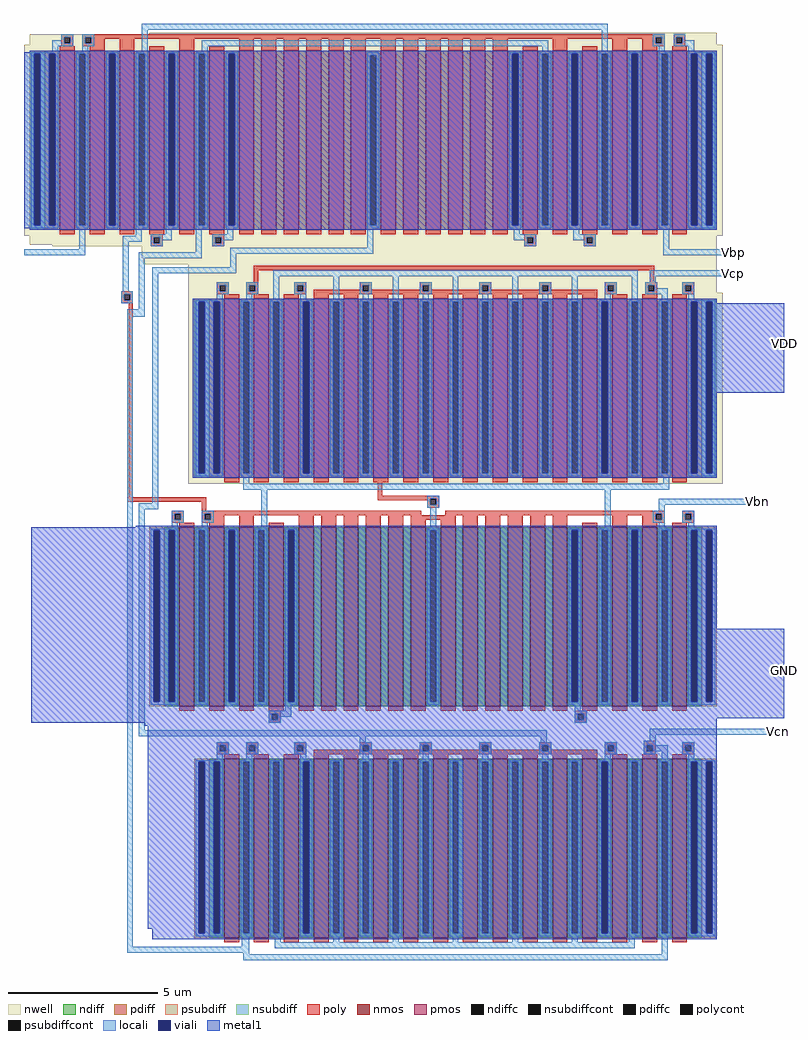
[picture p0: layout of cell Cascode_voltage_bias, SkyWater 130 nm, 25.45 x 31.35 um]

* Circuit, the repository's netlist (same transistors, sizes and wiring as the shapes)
* NGSPICE file created from Cascode_voltage_bias.ext - technology: sky130A


X0 a_2640_2790# a_2640_2790# Vcp VDD sky130_fd_pr__pfet_01v8 ad=1.5 pd=6.5 as=1.5 ps=6.5 w=6 l=0.5
X1 Vcp a_2140_2820# a_2140_2820# VDD sky130_fd_pr__pfet_01v8 ad=1.5 pd=6.5 as=1.5 ps=6.5 w=6 l=0.5
X2 Vcp a_2640_2790# VDD VDD sky130_fd_pr__pfet_01v8 ad=1.5 pd=6.5 as=1.5 ps=6.5 w=6 l=0.5
X3 a_2690_4480# Vbp a_2540_4480# VDD sky130_fd_pr__pfet_01v8 ad=0.75 pd=6.25 as=0.75 ps=6.25 w=6 l=0.5
X4 a_2840_4480# Vbp a_2690_4480# VDD sky130_fd_pr__pfet_01v8 ad=0.75 pd=6.25 as=0.75 ps=6.25 w=6 l=0.5
X5 a_3240_1290# Vbn a_3090_1290# GND sky130_fd_pr__nfet_01v8 ad=0.75 pd=6.25 as=0.75 ps=6.25 w=6 l=0.5
X6 VDD Vbp Vcn VDD sky130_fd_pr__pfet_01v8 ad=1.5 pd=6.5 as=1.5 ps=6.5 w=6 l=0.5
X7 a_3890_1290# Vbn a_3740_1290# GND sky130_fd_pr__nfet_01v8 ad=0.75 pd=6.25 as=0.75 ps=6.25 w=6 l=0.5
X8 a_4040_1290# Vbn a_3890_1290# GND sky130_fd_pr__nfet_01v8 ad=0.75 pd=6.25 as=0.75 ps=6.25 w=6 l=0.5
X9 GND GND Vbn GND sky130_fd_pr__nfet_01v8 ad=3 pd=13 as=1.5 ps=6.5 w=6 l=0.5
X10 Vbp VDD VDD VDD sky130_fd_pr__pfet_01v8 ad=1.5 pd=6.5 as=3 ps=13 w=6 l=0.5
X11 Vbn Vbp VDD VDD sky130_fd_pr__pfet_01v8 ad=1.5 pd=6.5 as=1.5 ps=6.5 w=6 l=0.5
X12 VDD Vbp Vbn VDD sky130_fd_pr__pfet_01v8 ad=1.5 pd=6.5 as=1.5 ps=6.5 w=6 l=0.5
X13 a_2140_2820# Vbn GND GND sky130_fd_pr__nfet_01v8 ad=1.5 pd=6.5 as=1.5 ps=6.5 w=6 l=0.5
X14 a_2340_n260# a_2640_n290# a_2640_n290# GND sky130_fd_pr__nfet_01v8 ad=1.5 pd=6.5 as=1.5 ps=6.5 w=6 l=0.5
X15 Vcn Vbp VDD VDD sky130_fd_pr__pfet_01v8 ad=1.5 pd=6.5 as=1.5 ps=6.5 w=6 l=0.5
X16 a_2640_1290# Vbn GND GND sky130_fd_pr__nfet_01v8 ad=0.75 pd=6.25 as=1.5 ps=6.5 w=6 l=0.5
X17 a_2340_n260# GND GND GND sky130_fd_pr__nfet_01v8 ad=1.5 pd=6.5 as=1.5 ps=6.5 w=6 l=0.5
X18 a_3190_4480# Vbp a_2640_n290# VDD sky130_fd_pr__pfet_01v8 ad=0.75 pd=6.25 as=1.5 ps=6.5 w=6 l=0.5
X19 a_3340_4480# Vbp a_3190_4480# VDD sky130_fd_pr__pfet_01v8 ad=0.75 pd=6.25 as=0.75 ps=6.25 w=6 l=0.5
X20 VDD VDD a_2140_2820# VDD sky130_fd_pr__pfet_01v8 ad=3 pd=13 as=1.5 ps=6.5 w=6 l=0.5
X21 a_2140_2820# GND GND GND sky130_fd_pr__nfet_01v8 ad=1.5 pd=6.5 as=1.5 ps=6.5 w=6 l=0.5
X22 a_2640_n290# a_2640_n290# a_2340_n260# GND sky130_fd_pr__nfet_01v8 ad=1.5 pd=6.5 as=1.5 ps=6.5 w=6 l=0.5
X23 Vbn Vbn GND GND sky130_fd_pr__nfet_01v8 ad=1.5 pd=6.5 as=1.5 ps=6.5 w=6 l=0.5
X24 a_2640_n290# a_2640_n290# a_2340_n260# GND sky130_fd_pr__nfet_01v8 ad=1.5 pd=6.5 as=1.5 ps=6.5 w=6 l=0.5
X25 a_2640_2790# a_2640_2790# Vcp VDD sky130_fd_pr__pfet_01v8 ad=1.5 pd=6.5 as=1.5 ps=6.5 w=6 l=0.5
X26 VDD a_2640_2790# Vcp VDD sky130_fd_pr__pfet_01v8 ad=1.5 pd=6.5 as=1.5 ps=6.5 w=6 l=0.5
X27 GND Vbn Vbn GND sky130_fd_pr__nfet_01v8 ad=1.5 pd=6.5 as=1.5 ps=6.5 w=6 l=0.5
X28 a_2140_2820# a_2140_2820# Vcp VDD sky130_fd_pr__pfet_01v8 ad=1.5 pd=6.5 as=1.5 ps=6.5 w=6 l=0.5
X29 a_2640_2790# Vbn a_3240_1290# GND sky130_fd_pr__nfet_01v8 ad=1.5 pd=6.5 as=0.75 ps=6.25 w=6 l=0.5
X30 a_2340_n260# Vcn Vcn GND sky130_fd_pr__nfet_01v8 ad=1.5 pd=6.5 as=1.5 ps=6.5 w=6 l=0.5
X31 a_2640_n290# Vbp a_2840_4480# VDD sky130_fd_pr__pfet_01v8 ad=1.5 pd=6.5 as=0.75 ps=6.25 w=6 l=0.5
X32 Vcp a_2640_2790# a_2640_2790# VDD sky130_fd_pr__pfet_01v8 ad=1.5 pd=6.5 as=1.5 ps=6.5 w=6 l=0.5
X33 a_2340_n260# a_2640_n290# GND GND sky130_fd_pr__nfet_01v8 ad=1.5 pd=6.5 as=1.5 ps=6.5 w=6 l=0.5
X34 Vcp a_2640_2790# a_2640_2790# VDD sky130_fd_pr__pfet_01v8 ad=1.5 pd=6.5 as=1.5 ps=6.5 w=6 l=0.5
X35 Vcp a_2640_2790# a_2640_2790# VDD sky130_fd_pr__pfet_01v8 ad=1.5 pd=6.5 as=1.5 ps=6.5 w=6 l=0.5
X36 a_2140_2820# VDD VDD VDD sky130_fd_pr__pfet_01v8 ad=1.5 pd=6.5 as=3 ps=13 w=6 l=0.5
X37 a_2790_1290# Vbn a_2640_1290# GND sky130_fd_pr__nfet_01v8 ad=0.75 pd=6.25 as=0.75 ps=6.25 w=6 l=0.5
X38 a_2940_1290# Vbn a_2790_1290# GND sky130_fd_pr__nfet_01v8 ad=0.75 pd=6.25 as=0.75 ps=6.25 w=6 l=0.5
X39 a_3490_4480# Vbp a_3340_4480# VDD sky130_fd_pr__pfet_01v8 ad=0.75 pd=6.25 as=0.75 ps=6.25 w=6 l=0.5
X40 a_3640_4480# Vbp a_3490_4480# VDD sky130_fd_pr__pfet_01v8 ad=0.75 pd=6.25 as=0.75 ps=6.25 w=6 l=0.5
X41 VDD VDD Vcp VDD sky130_fd_pr__pfet_01v8 ad=1.5 pd=6.5 as=1.5 ps=6.5 w=6 l=0.5
X42 VDD VDD Vbp VDD sky130_fd_pr__pfet_01v8 ad=3 pd=13 as=1.5 ps=6.5 w=6 l=0.5
X43 a_2640_2790# a_2640_2790# Vcp VDD sky130_fd_pr__pfet_01v8 ad=1.5 pd=6.5 as=1.5 ps=6.5 w=6 l=0.5
X44 a_2240_4480# Vbp VDD VDD sky130_fd_pr__pfet_01v8 ad=0.75 pd=6.25 as=1.5 ps=6.5 w=6 l=0.5
X45 GND GND Vcn GND sky130_fd_pr__nfet_01v8 ad=3 pd=13 as=1.5 ps=6.5 w=6 l=0.5
X46 Vcn VDD VDD VDD sky130_fd_pr__pfet_01v8 ad=1.5 pd=6.5 as=1.5 ps=6.5 w=6 l=0.5
X47 VDD Vbp Vbp VDD sky130_fd_pr__pfet_01v8 ad=1.5 pd=6.5 as=1.5 ps=6.5 w=6 l=0.5
X48 Vbn VDD VDD VDD sky130_fd_pr__pfet_01v8 ad=1.5 pd=6.5 as=1.5 ps=6.5 w=6 l=0.5
X49 a_2640_n290# a_2640_n290# a_2340_n260# GND sky130_fd_pr__nfet_01v8 ad=1.5 pd=6.5 as=1.5 ps=6.5 w=6 l=0.5
X50 VDD VDD Vbn VDD sky130_fd_pr__pfet_01v8 ad=1.5 pd=6.5 as=1.5 ps=6.5 w=6 l=0.5
X51 Vbp Vbp VDD VDD sky130_fd_pr__pfet_01v8 ad=1.5 pd=6.5 as=1.5 ps=6.5 w=6 l=0.5
X52 GND GND a_2140_2820# GND sky130_fd_pr__nfet_01v8 ad=1.5 pd=6.5 as=1.5 ps=6.5 w=6 l=0.5
X53 GND a_2640_n290# a_2340_n260# GND sky130_fd_pr__nfet_01v8 ad=1.5 pd=6.5 as=1.5 ps=6.5 w=6 l=0.5
X54 VDD VDD Vcn VDD sky130_fd_pr__pfet_01v8 ad=1.5 pd=6.5 as=1.5 ps=6.5 w=6 l=0.5
X55 a_3090_1290# Vbn a_2940_1290# GND sky130_fd_pr__nfet_01v8 ad=0.75 pd=6.25 as=0.75 ps=6.25 w=6 l=0.5
X56 Vcn Vcn a_2340_n260# GND sky130_fd_pr__nfet_01v8 ad=1.5 pd=6.5 as=1.5 ps=6.5 w=6 l=0.5
X57 a_3790_4480# Vbp a_3640_4480# VDD sky130_fd_pr__pfet_01v8 ad=0.75 pd=6.25 as=0.75 ps=6.25 w=6 l=0.5
X58 a_4190_1290# Vbn a_4040_1290# GND sky130_fd_pr__nfet_01v8 ad=0.75 pd=6.25 as=0.75 ps=6.25 w=6 l=0.5
X59 GND Vbn a_4190_1290# GND sky130_fd_pr__nfet_01v8 ad=1.5 pd=6.5 as=0.75 ps=6.25 w=6 l=0.5
X60 a_2340_n260# a_2640_n290# a_2640_n290# GND sky130_fd_pr__nfet_01v8 ad=1.5 pd=6.5 as=1.5 ps=6.5 w=6 l=0.5
X61 VDD Vbp a_3790_4480# VDD sky130_fd_pr__pfet_01v8 ad=1.5 pd=6.5 as=0.75 ps=6.25 w=6 l=0.5
X62 GND Vbn a_2140_2820# GND sky130_fd_pr__nfet_01v8 ad=1.5 pd=6.5 as=1.5 ps=6.5 w=6 l=0.5
X63 a_2340_n260# a_2640_n290# a_2640_n290# GND sky130_fd_pr__nfet_01v8 ad=1.5 pd=6.5 as=1.5 ps=6.5 w=6 l=0.5
X64 a_2390_4480# Vbp a_2240_4480# VDD sky130_fd_pr__pfet_01v8 ad=0.75 pd=6.25 as=0.75 ps=6.25 w=6 l=0.5
X65 Vcp a_2640_2790# a_2640_2790# VDD sky130_fd_pr__pfet_01v8 ad=1.5 pd=6.5 as=1.5 ps=6.5 w=6 l=0.5
X66 Vbn GND GND GND sky130_fd_pr__nfet_01v8 ad=1.5 pd=6.5 as=3 ps=13 w=6 l=0.5
X67 a_2340_n260# a_2640_n290# a_2640_n290# GND sky130_fd_pr__nfet_01v8 ad=1.5 pd=6.5 as=1.5 ps=6.5 w=6 l=0.5
X68 a_2540_4480# Vbp a_2390_4480# VDD sky130_fd_pr__pfet_01v8 ad=0.75 pd=6.25 as=0.75 ps=6.25 w=6 l=0.5
X69 Vcp VDD VDD VDD sky130_fd_pr__pfet_01v8 ad=1.5 pd=6.5 as=1.5 ps=6.5 w=6 l=0.5
X70 a_3590_1290# Vbn a_2640_2790# GND sky130_fd_pr__nfet_01v8 ad=0.75 pd=6.25 as=1.5 ps=6.5 w=6 l=0.5
X71 Vcn GND GND GND sky130_fd_pr__nfet_01v8 ad=1.5 pd=6.5 as=3 ps=13 w=6 l=0.5
X72 a_3740_1290# Vbn a_3590_1290# GND sky130_fd_pr__nfet_01v8 ad=0.75 pd=6.25 as=0.75 ps=6.25 w=6 l=0.5
X73 GND GND a_2340_n260# GND sky130_fd_pr__nfet_01v8 ad=1.5 pd=6.5 as=1.5 ps=6.5 w=6 l=0.5
X74 a_2640_2790# a_2640_2790# Vcp VDD sky130_fd_pr__pfet_01v8 ad=1.5 pd=6.5 as=1.5 ps=6.5 w=6 l=0.5
X75 a_2640_n290# a_2640_n290# a_2340_n260# GND sky130_fd_pr__nfet_01v8 ad=1.5 pd=6.5 as=1.5 ps=6.5 w=6 l=0.5
.ends

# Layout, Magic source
magic
tech sky130A
<< nwell >>
rect 770 2895 2670 2900
rect 370 2860 2670 2895
rect 350 2220 2690 2860
rect 370 2190 2670 2220
rect 445 2185 2670 2190
rect 745 2145 2670 2185
rect 750 2125 2670 2145
rect 900 2030 2670 2125
rect 900 1390 2690 2030
<< nmos >>
rect 870 645 920 1245
rect 970 645 1020 1245
rect 1070 645 1120 1245
rect 1170 645 1220 1245
rect 1270 645 1320 1245
rect 1345 645 1395 1245
rect 1420 645 1470 1245
rect 1495 645 1545 1245
rect 1570 645 1620 1245
rect 1645 645 1695 1245
rect 1745 645 1795 1245
rect 1820 645 1870 1245
rect 1895 645 1945 1245
rect 1970 645 2020 1245
rect 2045 645 2095 1245
rect 2120 645 2170 1245
rect 2220 645 2270 1245
rect 2320 645 2370 1245
rect 2420 645 2470 1245
rect 2520 645 2570 1245
rect 1020 -130 1070 470
rect 1120 -130 1170 470
rect 1220 -130 1270 470
rect 1320 -130 1370 470
rect 1420 -130 1470 470
rect 1520 -130 1570 470
rect 1620 -130 1670 470
rect 1720 -130 1770 470
rect 1820 -130 1870 470
rect 1920 -130 1970 470
rect 2020 -130 2070 470
rect 2120 -130 2170 470
rect 2220 -130 2270 470
rect 2320 -130 2370 470
rect 2420 -130 2470 470
rect 2520 -130 2570 470
<< pmos >>
rect 470 2240 520 2840
rect 570 2240 620 2840
rect 670 2240 720 2840
rect 770 2240 820 2840
rect 870 2240 920 2840
rect 970 2240 1020 2840
rect 1070 2240 1120 2840
rect 1145 2240 1195 2840
rect 1220 2240 1270 2840
rect 1295 2240 1345 2840
rect 1370 2240 1420 2840
rect 1445 2240 1495 2840
rect 1545 2240 1595 2840
rect 1620 2240 1670 2840
rect 1695 2240 1745 2840
rect 1770 2240 1820 2840
rect 1845 2240 1895 2840
rect 1920 2240 1970 2840
rect 2020 2240 2070 2840
rect 2120 2240 2170 2840
rect 2220 2240 2270 2840
rect 2320 2240 2370 2840
rect 2420 2240 2470 2840
rect 2520 2240 2570 2840
rect 1020 1410 1070 2010
rect 1120 1410 1170 2010
rect 1220 1410 1270 2010
rect 1320 1410 1370 2010
rect 1420 1410 1470 2010
rect 1520 1410 1570 2010
rect 1620 1410 1670 2010
rect 1720 1410 1770 2010
rect 1820 1410 1870 2010
rect 1920 1410 1970 2010
rect 2020 1410 2070 2010
rect 2120 1410 2170 2010
rect 2220 1410 2270 2010
rect 2320 1410 2370 2010
rect 2420 1410 2470 2010
rect 2520 1410 2570 2010
<< ndiff >>
rect 820 1235 870 1245
rect 820 660 835 1235
rect 855 660 870 1235
rect 820 645 870 660
rect 920 1235 970 1245
rect 920 660 935 1235
rect 955 660 970 1235
rect 920 645 970 660
rect 1020 1235 1070 1245
rect 1020 660 1035 1235
rect 1055 660 1070 1235
rect 1020 645 1070 660
rect 1120 1235 1170 1245
rect 1120 660 1135 1235
rect 1155 660 1170 1235
rect 1120 645 1170 660
rect 1220 1235 1270 1245
rect 1220 660 1235 1235
rect 1255 660 1270 1235
rect 1220 645 1270 660
rect 1320 645 1345 1245
rect 1395 645 1420 1245
rect 1470 645 1495 1245
rect 1545 645 1570 1245
rect 1620 645 1645 1245
rect 1695 1235 1745 1245
rect 1695 660 1710 1235
rect 1730 660 1745 1235
rect 1695 645 1745 660
rect 1795 645 1820 1245
rect 1870 645 1895 1245
rect 1945 645 1970 1245
rect 2020 645 2045 1245
rect 2095 645 2120 1245
rect 2170 1235 2220 1245
rect 2170 660 2185 1235
rect 2205 660 2220 1235
rect 2170 645 2220 660
rect 2270 1235 2320 1245
rect 2270 660 2285 1235
rect 2305 660 2320 1235
rect 2270 645 2320 660
rect 2370 1235 2420 1245
rect 2370 660 2385 1235
rect 2405 660 2420 1235
rect 2370 645 2420 660
rect 2470 1235 2520 1245
rect 2470 660 2485 1235
rect 2505 660 2520 1235
rect 2470 645 2520 660
rect 2570 1235 2620 1245
rect 2570 660 2585 1235
rect 2605 660 2620 1235
rect 2570 645 2620 660
rect 970 460 1020 470
rect 970 -115 985 460
rect 1005 -115 1020 460
rect 970 -130 1020 -115
rect 1070 460 1120 470
rect 1070 -115 1085 460
rect 1105 -115 1120 460
rect 1070 -130 1120 -115
rect 1170 460 1220 470
rect 1170 -115 1185 460
rect 1205 -115 1220 460
rect 1170 -130 1220 -115
rect 1270 460 1320 470
rect 1270 -115 1285 460
rect 1305 -115 1320 460
rect 1270 -130 1320 -115
rect 1370 460 1420 470
rect 1370 -115 1385 460
rect 1405 -115 1420 460
rect 1370 -130 1420 -115
rect 1470 460 1520 470
rect 1470 -115 1485 460
rect 1505 -115 1520 460
rect 1470 -130 1520 -115
rect 1570 460 1620 470
rect 1570 -115 1585 460
rect 1605 -115 1620 460
rect 1570 -130 1620 -115
rect 1670 460 1720 470
rect 1670 -115 1685 460
rect 1705 -115 1720 460
rect 1670 -130 1720 -115
rect 1770 460 1820 470
rect 1770 -115 1785 460
rect 1805 -115 1820 460
rect 1770 -130 1820 -115
rect 1870 460 1920 470
rect 1870 -115 1885 460
rect 1905 -115 1920 460
rect 1870 -130 1920 -115
rect 1970 460 2020 470
rect 1970 -115 1985 460
rect 2005 -115 2020 460
rect 1970 -130 2020 -115
rect 2070 460 2120 470
rect 2070 -115 2085 460
rect 2105 -115 2120 460
rect 2070 -130 2120 -115
rect 2170 460 2220 470
rect 2170 -115 2185 460
rect 2205 -115 2220 460
rect 2170 -130 2220 -115
rect 2270 460 2320 470
rect 2270 -115 2285 460
rect 2305 -115 2320 460
rect 2270 -130 2320 -115
rect 2370 460 2420 470
rect 2370 -115 2385 460
rect 2405 -115 2420 460
rect 2370 -130 2420 -115
rect 2470 460 2520 470
rect 2470 -115 2485 460
rect 2505 -115 2520 460
rect 2470 -130 2520 -115
rect 2570 460 2620 470
rect 2570 -115 2585 460
rect 2605 -115 2620 460
rect 2570 -130 2620 -115
<< pdiff >>
rect 420 2830 470 2840
rect 420 2255 435 2830
rect 455 2255 470 2830
rect 420 2240 470 2255
rect 520 2830 570 2840
rect 520 2255 535 2830
rect 555 2255 570 2830
rect 520 2240 570 2255
rect 620 2830 670 2840
rect 620 2255 635 2830
rect 655 2255 670 2830
rect 620 2240 670 2255
rect 720 2830 770 2840
rect 720 2255 735 2830
rect 755 2255 770 2830
rect 720 2240 770 2255
rect 820 2830 870 2840
rect 820 2255 835 2830
rect 855 2255 870 2830
rect 820 2240 870 2255
rect 920 2830 970 2840
rect 920 2255 935 2830
rect 955 2255 970 2830
rect 920 2240 970 2255
rect 1020 2830 1070 2840
rect 1020 2255 1035 2830
rect 1055 2255 1070 2830
rect 1020 2240 1070 2255
rect 1120 2240 1145 2840
rect 1195 2240 1220 2840
rect 1270 2240 1295 2840
rect 1345 2240 1370 2840
rect 1420 2240 1445 2840
rect 1495 2825 1545 2840
rect 1495 2255 1510 2825
rect 1530 2255 1545 2825
rect 1495 2240 1545 2255
rect 1595 2240 1620 2840
rect 1670 2240 1695 2840
rect 1745 2240 1770 2840
rect 1820 2240 1845 2840
rect 1895 2240 1920 2840
rect 1970 2830 2020 2840
rect 1970 2255 1985 2830
rect 2005 2255 2020 2830
rect 1970 2240 2020 2255
rect 2070 2830 2120 2840
rect 2070 2255 2085 2830
rect 2105 2255 2120 2830
rect 2070 2240 2120 2255
rect 2170 2830 2220 2840
rect 2170 2255 2185 2830
rect 2205 2255 2220 2830
rect 2170 2240 2220 2255
rect 2270 2830 2320 2840
rect 2270 2255 2285 2830
rect 2305 2255 2320 2830
rect 2270 2240 2320 2255
rect 2370 2830 2420 2840
rect 2370 2255 2385 2830
rect 2405 2255 2420 2830
rect 2370 2240 2420 2255
rect 2470 2830 2520 2840
rect 2470 2255 2485 2830
rect 2505 2255 2520 2830
rect 2470 2240 2520 2255
rect 2570 2830 2620 2840
rect 2570 2255 2585 2830
rect 2605 2255 2620 2830
rect 2570 2240 2620 2255
rect 970 2000 1020 2010
rect 970 1425 985 2000
rect 1005 1425 1020 2000
rect 970 1410 1020 1425
rect 1070 2000 1120 2010
rect 1070 1425 1085 2000
rect 1105 1425 1120 2000
rect 1070 1410 1120 1425
rect 1170 2000 1220 2010
rect 1170 1425 1185 2000
rect 1205 1425 1220 2000
rect 1170 1410 1220 1425
rect 1270 2000 1320 2010
rect 1270 1425 1285 2000
rect 1305 1425 1320 2000
rect 1270 1410 1320 1425
rect 1370 2000 1420 2010
rect 1370 1425 1385 2000
rect 1405 1425 1420 2000
rect 1370 1410 1420 1425
rect 1470 2000 1520 2010
rect 1470 1425 1485 2000
rect 1505 1425 1520 2000
rect 1470 1410 1520 1425
rect 1570 2000 1620 2010
rect 1570 1425 1585 2000
rect 1605 1425 1620 2000
rect 1570 1410 1620 1425
rect 1670 2000 1720 2010
rect 1670 1425 1685 2000
rect 1705 1425 1720 2000
rect 1670 1410 1720 1425
rect 1770 2000 1820 2010
rect 1770 1425 1785 2000
rect 1805 1425 1820 2000
rect 1770 1410 1820 1425
rect 1870 2000 1920 2010
rect 1870 1425 1885 2000
rect 1905 1425 1920 2000
rect 1870 1410 1920 1425
rect 1970 2000 2020 2010
rect 1970 1425 1985 2000
rect 2005 1425 2020 2000
rect 1970 1410 2020 1425
rect 2070 2000 2120 2010
rect 2070 1425 2085 2000
rect 2105 1425 2120 2000
rect 2070 1410 2120 1425
rect 2170 2000 2220 2010
rect 2170 1425 2185 2000
rect 2205 1425 2220 2000
rect 2170 1410 2220 1425
rect 2270 2000 2320 2010
rect 2270 1425 2285 2000
rect 2305 1425 2320 2000
rect 2270 1410 2320 1425
rect 2370 2000 2420 2010
rect 2370 1425 2385 2000
rect 2405 1425 2420 2000
rect 2370 1410 2420 1425
rect 2470 2000 2520 2010
rect 2470 1425 2485 2000
rect 2505 1425 2520 2000
rect 2470 1410 2520 1425
rect 2570 2000 2620 2010
rect 2570 1425 2585 2000
rect 2605 1425 2620 2000
rect 2570 1410 2620 1425
<< ndiffc >>
rect 835 660 855 1235
rect 935 660 955 1235
rect 1035 660 1055 1235
rect 1135 660 1155 1235
rect 1235 660 1255 1235
rect 1710 660 1730 1235
rect 2185 660 2205 1235
rect 2285 660 2305 1235
rect 2385 660 2405 1235
rect 2485 660 2505 1235
rect 2585 660 2605 1235
rect 985 -115 1005 460
rect 1085 -115 1105 460
rect 1185 -115 1205 460
rect 1285 -115 1305 460
rect 1385 -115 1405 460
rect 1485 -115 1505 460
rect 1585 -115 1605 460
rect 1685 -115 1705 460
rect 1785 -115 1805 460
rect 1885 -115 1905 460
rect 1985 -115 2005 460
rect 2085 -115 2105 460
rect 2185 -115 2205 460
rect 2285 -115 2305 460
rect 2385 -115 2405 460
rect 2485 -115 2505 460
rect 2585 -115 2605 460
<< pdiffc >>
rect 435 2255 455 2830
rect 535 2255 555 2830
rect 635 2255 655 2830
rect 735 2255 755 2830
rect 835 2255 855 2830
rect 935 2255 955 2830
rect 1035 2255 1055 2830
rect 1510 2255 1530 2825
rect 1985 2255 2005 2830
rect 2085 2255 2105 2830
rect 2185 2255 2205 2830
rect 2285 2255 2305 2830
rect 2385 2255 2405 2830
rect 2485 2255 2505 2830
rect 2585 2255 2605 2830
rect 985 1425 1005 2000
rect 1085 1425 1105 2000
rect 1185 1425 1205 2000
rect 1285 1425 1305 2000
rect 1385 1425 1405 2000
rect 1485 1425 1505 2000
rect 1585 1425 1605 2000
rect 1685 1425 1705 2000
rect 1785 1425 1805 2000
rect 1885 1425 1905 2000
rect 1985 1425 2005 2000
rect 2085 1425 2105 2000
rect 2185 1425 2205 2000
rect 2285 1425 2305 2000
rect 2385 1425 2405 2000
rect 2485 1425 2505 2000
rect 2585 1425 2605 2000
<< psubdiff >>
rect 770 1235 820 1245
rect 770 660 785 1235
rect 805 660 820 1235
rect 770 645 820 660
rect 2620 1235 2670 1245
rect 2620 660 2635 1235
rect 2655 660 2670 1235
rect 2620 645 2670 660
rect 920 460 970 470
rect 920 -115 935 460
rect 955 -115 970 460
rect 920 -130 970 -115
rect 2620 460 2670 470
rect 2620 -115 2635 460
rect 2655 -115 2670 460
rect 2620 -130 2670 -115
<< nsubdiff >>
rect 370 2830 420 2840
rect 370 2255 385 2830
rect 405 2255 420 2830
rect 370 2240 420 2255
rect 2620 2830 2670 2840
rect 2620 2255 2635 2830
rect 2655 2255 2670 2830
rect 2620 2240 2670 2255
rect 920 2000 970 2010
rect 920 1425 935 2000
rect 955 1425 970 2000
rect 920 1410 970 1425
rect 2620 2000 2670 2010
rect 2620 1425 2635 2000
rect 2655 1425 2670 2000
rect 2620 1410 2670 1425
<< psubdiffcont >>
rect 785 660 805 1235
rect 2635 660 2655 1235
rect 935 -115 955 460
rect 2635 -115 2655 460
<< nsubdiffcont >>
rect 385 2255 405 2830
rect 2635 2255 2655 2830
rect 935 1425 955 2000
rect 2635 1425 2655 2000
<< poly >>
rect 475 2885 515 2895
rect 475 2865 485 2885
rect 505 2865 515 2885
rect 475 2855 515 2865
rect 545 2885 2495 2895
rect 545 2865 555 2885
rect 575 2880 2465 2885
rect 575 2865 620 2880
rect 545 2855 620 2865
rect 470 2840 520 2855
rect 570 2840 620 2855
rect 670 2840 720 2880
rect 770 2840 820 2855
rect 870 2840 920 2880
rect 970 2840 1020 2855
rect 1070 2840 1120 2880
rect 1145 2840 1195 2880
rect 1220 2840 1270 2880
rect 1295 2840 1345 2880
rect 1370 2840 1420 2880
rect 1445 2840 1495 2880
rect 1545 2840 1595 2880
rect 1620 2840 1670 2880
rect 1695 2840 1745 2880
rect 1770 2840 1820 2880
rect 1845 2840 1895 2880
rect 1920 2840 1970 2880
rect 2020 2840 2070 2855
rect 2120 2840 2170 2880
rect 2220 2840 2270 2855
rect 2320 2840 2370 2880
rect 2420 2865 2465 2880
rect 2485 2865 2495 2885
rect 2420 2855 2495 2865
rect 2525 2885 2565 2895
rect 2525 2865 2535 2885
rect 2555 2865 2565 2885
rect 2525 2855 2565 2865
rect 2420 2840 2470 2855
rect 2520 2840 2570 2855
rect 470 2225 520 2240
rect 570 2225 620 2240
rect 670 2225 720 2240
rect 770 2225 820 2240
rect 870 2225 920 2240
rect 970 2225 1020 2240
rect 1070 2225 1120 2240
rect 1145 2225 1195 2240
rect 1220 2225 1270 2240
rect 1295 2225 1345 2240
rect 1370 2225 1420 2240
rect 1445 2225 1495 2240
rect 1545 2225 1595 2240
rect 1620 2225 1670 2240
rect 1695 2225 1745 2240
rect 1770 2225 1820 2240
rect 1845 2225 1895 2240
rect 1920 2225 1970 2240
rect 2020 2225 2070 2240
rect 2120 2225 2170 2240
rect 2220 2225 2270 2240
rect 2320 2225 2370 2240
rect 2420 2225 2470 2240
rect 2520 2225 2570 2240
rect 775 2215 815 2225
rect 775 2195 785 2215
rect 805 2195 815 2215
rect 775 2185 815 2195
rect 980 2215 1020 2225
rect 980 2195 990 2215
rect 1010 2195 1020 2215
rect 980 2185 1020 2195
rect 2025 2215 2065 2225
rect 2025 2195 2035 2215
rect 2055 2195 2065 2215
rect 2025 2185 2065 2195
rect 2225 2215 2265 2225
rect 2225 2195 2235 2215
rect 2255 2195 2265 2215
rect 2225 2185 2265 2195
rect 1120 2105 2460 2120
rect 1120 2065 1135 2105
rect 2445 2065 2460 2105
rect 995 2055 1035 2065
rect 995 2035 1005 2055
rect 1025 2035 1035 2055
rect 675 2025 715 2035
rect 995 2025 1035 2035
rect 1095 2055 1135 2065
rect 1095 2035 1105 2055
rect 1125 2035 1135 2055
rect 1095 2025 1135 2035
rect 1255 2055 1295 2065
rect 1255 2035 1265 2055
rect 1285 2035 1295 2055
rect 1475 2055 1515 2065
rect 1475 2040 1485 2055
rect 1255 2025 1295 2035
rect 1320 2035 1485 2040
rect 1505 2040 1515 2055
rect 1675 2055 1715 2065
rect 1675 2040 1685 2055
rect 1505 2035 1685 2040
rect 1705 2040 1715 2055
rect 1875 2055 1915 2065
rect 1875 2040 1885 2055
rect 1705 2035 1885 2040
rect 1905 2040 1915 2055
rect 2075 2055 2115 2065
rect 2075 2040 2085 2055
rect 1905 2035 2085 2040
rect 2105 2040 2115 2055
rect 2295 2055 2335 2065
rect 2105 2035 2270 2040
rect 1320 2025 2270 2035
rect 2295 2035 2305 2055
rect 2325 2035 2335 2055
rect 2295 2025 2335 2035
rect 2430 2055 2470 2065
rect 2430 2035 2440 2055
rect 2460 2035 2470 2055
rect 2430 2025 2470 2035
rect 2555 2055 2595 2065
rect 2555 2035 2565 2055
rect 2585 2035 2595 2055
rect 2555 2025 2595 2035
rect 675 2005 685 2025
rect 705 2005 715 2025
rect 1020 2010 1070 2025
rect 1120 2010 1170 2025
rect 1220 2010 1270 2025
rect 1320 2010 1370 2025
rect 1420 2010 1470 2025
rect 1520 2010 1570 2025
rect 1620 2010 1670 2025
rect 1720 2010 1770 2025
rect 1820 2010 1870 2025
rect 1920 2010 1970 2025
rect 2020 2010 2070 2025
rect 2120 2010 2170 2025
rect 2220 2010 2270 2025
rect 2320 2010 2370 2025
rect 2420 2010 2470 2025
rect 2520 2010 2570 2025
rect 675 1995 715 2005
rect 700 1345 715 1995
rect 1020 1395 1070 1410
rect 1120 1395 1170 1410
rect 1220 1395 1270 1410
rect 1320 1395 1370 1410
rect 1420 1395 1470 1410
rect 1520 1395 1570 1410
rect 1620 1395 1670 1410
rect 1720 1395 1770 1410
rect 1820 1395 1870 1410
rect 1920 1395 1970 1410
rect 2020 1395 2070 1410
rect 2120 1395 2170 1410
rect 2220 1395 2270 1410
rect 2320 1395 2370 1410
rect 2420 1395 2470 1410
rect 2520 1395 2570 1410
rect 1535 1350 1550 1395
rect 695 1330 960 1345
rect 1535 1340 1740 1350
rect 1535 1335 1710 1340
rect 945 1300 960 1330
rect 1700 1320 1710 1335
rect 1730 1320 1740 1340
rect 1700 1310 1740 1320
rect 845 1290 885 1300
rect 845 1270 855 1290
rect 875 1270 885 1290
rect 845 1260 885 1270
rect 945 1290 1680 1300
rect 945 1270 955 1290
rect 975 1285 1680 1290
rect 1760 1290 2495 1300
rect 1760 1285 2465 1290
rect 975 1270 1020 1285
rect 945 1260 1020 1270
rect 870 1245 920 1260
rect 970 1245 1020 1260
rect 1070 1245 1120 1285
rect 1170 1245 1220 1260
rect 1270 1245 1320 1285
rect 1345 1245 1395 1285
rect 1420 1245 1470 1285
rect 1495 1245 1545 1285
rect 1570 1245 1620 1285
rect 1645 1270 1795 1285
rect 1645 1245 1695 1270
rect 1745 1245 1795 1270
rect 1820 1245 1870 1285
rect 1895 1245 1945 1285
rect 1970 1245 2020 1285
rect 2045 1245 2095 1285
rect 2120 1245 2170 1285
rect 2220 1245 2270 1260
rect 2320 1245 2370 1285
rect 2420 1270 2465 1285
rect 2485 1270 2495 1290
rect 2420 1260 2495 1270
rect 2555 1290 2595 1300
rect 2555 1270 2565 1290
rect 2585 1270 2595 1290
rect 2555 1260 2595 1270
rect 2420 1245 2470 1260
rect 2520 1245 2570 1260
rect 870 630 920 645
rect 970 630 1020 645
rect 1070 630 1120 645
rect 1170 630 1220 645
rect 1270 630 1320 645
rect 1345 630 1395 645
rect 1420 630 1470 645
rect 1495 630 1545 645
rect 1570 630 1620 645
rect 1645 630 1695 645
rect 1745 630 1795 645
rect 1820 630 1870 645
rect 1895 630 1945 645
rect 1970 630 2020 645
rect 2045 630 2095 645
rect 2120 630 2170 645
rect 2220 630 2270 645
rect 2320 630 2370 645
rect 2420 630 2470 645
rect 2520 630 2570 645
rect 1170 620 1210 630
rect 1170 600 1180 620
rect 1200 600 1210 620
rect 1170 590 1210 600
rect 2195 620 2235 630
rect 2195 600 2205 620
rect 2225 600 2235 620
rect 2195 590 2235 600
rect 995 515 1035 525
rect 995 495 1005 515
rect 1025 495 1035 515
rect 995 485 1035 495
rect 1095 515 1135 525
rect 1095 495 1105 515
rect 1125 495 1135 515
rect 1095 485 1135 495
rect 1255 515 1295 525
rect 1255 495 1265 515
rect 1285 495 1295 515
rect 1475 515 1515 525
rect 1475 500 1485 515
rect 1255 485 1295 495
rect 1320 495 1485 500
rect 1505 500 1515 515
rect 1675 515 1715 525
rect 1675 500 1685 515
rect 1505 495 1685 500
rect 1705 500 1715 515
rect 1875 515 1915 525
rect 1875 500 1885 515
rect 1705 495 1885 500
rect 1905 500 1915 515
rect 2075 515 2115 525
rect 2075 500 2085 515
rect 1905 495 2085 500
rect 2105 500 2115 515
rect 2295 515 2335 525
rect 2105 495 2270 500
rect 1320 485 2270 495
rect 2295 495 2305 515
rect 2325 495 2335 515
rect 2295 485 2335 495
rect 2425 515 2465 530
rect 2425 495 2435 515
rect 2455 495 2465 515
rect 2425 485 2465 495
rect 2555 515 2595 525
rect 2555 495 2565 515
rect 2585 495 2595 515
rect 2555 485 2595 495
rect 1020 470 1070 485
rect 1120 470 1170 485
rect 1220 470 1270 485
rect 1320 470 1370 485
rect 1420 470 1470 485
rect 1520 470 1570 485
rect 1620 470 1670 485
rect 1720 470 1770 485
rect 1820 470 1870 485
rect 1920 470 1970 485
rect 2020 470 2070 485
rect 2120 470 2170 485
rect 2220 470 2270 485
rect 2320 470 2370 485
rect 2420 470 2470 485
rect 2520 470 2570 485
rect 1020 -145 1070 -130
rect 1120 -145 1170 -130
rect 1220 -145 1270 -130
rect 1320 -145 1370 -130
rect 1420 -145 1470 -130
rect 1520 -145 1570 -130
rect 1620 -145 1670 -130
rect 1720 -145 1770 -130
rect 1820 -145 1870 -130
rect 1920 -145 1970 -130
rect 2020 -145 2070 -130
rect 2120 -145 2170 -130
rect 2220 -145 2270 -130
rect 2320 -145 2370 -130
rect 2420 -145 2470 -130
rect 2520 -145 2570 -130
<< polycont >>
rect 485 2865 505 2885
rect 555 2865 575 2885
rect 2465 2865 2485 2885
rect 2535 2865 2555 2885
rect 785 2195 805 2215
rect 990 2195 1010 2215
rect 2035 2195 2055 2215
rect 2235 2195 2255 2215
rect 1005 2035 1025 2055
rect 1105 2035 1125 2055
rect 1265 2035 1285 2055
rect 1485 2035 1505 2055
rect 1685 2035 1705 2055
rect 1885 2035 1905 2055
rect 2085 2035 2105 2055
rect 2305 2035 2325 2055
rect 2440 2035 2460 2055
rect 2565 2035 2585 2055
rect 685 2005 705 2025
rect 1710 1320 1730 1340
rect 855 1270 875 1290
rect 955 1270 975 1290
rect 2465 1270 2485 1290
rect 2565 1270 2585 1290
rect 1180 600 1200 620
rect 2205 600 2225 620
rect 1005 495 1025 515
rect 1105 495 1125 515
rect 1265 495 1285 515
rect 1485 495 1505 515
rect 1685 495 1705 515
rect 1885 495 1905 515
rect 2085 495 2105 515
rect 2305 495 2325 515
rect 2435 495 2455 515
rect 2565 495 2585 515
<< locali >>
rect 745 2910 2305 2930
rect 475 2885 515 2895
rect 475 2875 485 2885
rect 445 2865 485 2875
rect 505 2865 515 2885
rect 445 2855 515 2865
rect 545 2885 585 2895
rect 545 2865 555 2885
rect 575 2865 585 2885
rect 545 2855 585 2865
rect 445 2835 465 2855
rect 545 2835 565 2855
rect 745 2835 765 2910
rect 945 2855 2105 2875
rect 945 2835 965 2855
rect 2085 2835 2105 2855
rect 2285 2835 2305 2910
rect 2455 2885 2495 2895
rect 2455 2865 2465 2885
rect 2485 2865 2495 2885
rect 2455 2855 2495 2865
rect 2525 2885 2565 2895
rect 2525 2865 2535 2885
rect 2555 2875 2565 2885
rect 2555 2865 2595 2875
rect 2525 2855 2595 2865
rect 2475 2835 2495 2855
rect 2575 2835 2595 2855
rect 375 2830 465 2835
rect 375 2255 385 2830
rect 405 2255 435 2830
rect 455 2255 465 2830
rect 375 2245 465 2255
rect 525 2830 565 2835
rect 525 2255 535 2830
rect 555 2255 565 2830
rect 525 2245 565 2255
rect 625 2830 665 2835
rect 625 2255 635 2830
rect 655 2255 665 2830
rect 625 2245 665 2255
rect 725 2830 765 2835
rect 725 2255 735 2830
rect 755 2255 765 2830
rect 725 2245 765 2255
rect 825 2830 865 2835
rect 825 2255 835 2830
rect 855 2255 865 2830
rect 825 2245 865 2255
rect 925 2830 965 2835
rect 925 2255 935 2830
rect 955 2255 965 2830
rect 925 2245 965 2255
rect 1025 2830 1065 2835
rect 1025 2255 1035 2830
rect 1055 2255 1065 2830
rect 1025 2245 1065 2255
rect 1500 2825 1540 2835
rect 1500 2255 1510 2825
rect 1530 2255 1540 2825
rect 1500 2245 1540 2255
rect 1975 2830 2015 2835
rect 1975 2255 1985 2830
rect 2005 2255 2015 2830
rect 1975 2245 2015 2255
rect 2075 2830 2115 2835
rect 2075 2255 2085 2830
rect 2105 2255 2115 2830
rect 2075 2245 2115 2255
rect 2175 2830 2215 2835
rect 2175 2255 2185 2830
rect 2205 2255 2215 2830
rect 2175 2245 2215 2255
rect 2275 2830 2315 2835
rect 2275 2255 2285 2830
rect 2305 2255 2315 2830
rect 2275 2245 2315 2255
rect 2375 2830 2415 2835
rect 2375 2255 2385 2830
rect 2405 2255 2415 2830
rect 2375 2245 2415 2255
rect 2475 2830 2515 2835
rect 2475 2255 2485 2830
rect 2505 2255 2515 2830
rect 2475 2245 2515 2255
rect 2575 2830 2665 2835
rect 2575 2255 2585 2830
rect 2605 2255 2635 2830
rect 2655 2255 2665 2830
rect 2575 2245 2665 2255
rect 535 2175 555 2245
rect 725 2220 745 2245
rect 825 2225 845 2245
rect 350 2155 555 2175
rect 680 2200 745 2220
rect 775 2215 845 2225
rect 680 2035 700 2200
rect 775 2195 785 2215
rect 805 2205 845 2215
rect 805 2195 815 2205
rect 775 2185 815 2195
rect 925 2165 945 2245
rect 1030 2225 1050 2245
rect 980 2215 1050 2225
rect 980 2195 990 2215
rect 1010 2205 1050 2215
rect 1010 2195 1020 2205
rect 980 2185 1020 2195
rect 1500 2180 1520 2245
rect 1990 2225 2010 2245
rect 2190 2225 2210 2245
rect 1990 2215 2065 2225
rect 1990 2205 2035 2215
rect 2025 2195 2035 2205
rect 2055 2195 2065 2215
rect 2190 2215 2265 2225
rect 2190 2205 2235 2215
rect 2025 2185 2065 2195
rect 2225 2195 2235 2205
rect 2255 2195 2265 2215
rect 2225 2185 2265 2195
rect 735 2145 945 2165
rect 1040 2160 1520 2180
rect 2490 2175 2510 2245
rect 675 2025 715 2035
rect 675 2005 685 2025
rect 705 2005 715 2025
rect 675 1995 715 2005
rect 735 1975 755 2145
rect 1040 2115 1060 2160
rect 2490 2155 2725 2175
rect 695 1950 755 1975
rect 780 2095 1060 2115
rect 695 -160 715 1950
rect 780 1325 800 2095
rect 1185 2085 2405 2105
rect 995 2055 1035 2065
rect 995 2035 1005 2055
rect 1025 2035 1035 2055
rect 995 2025 1035 2035
rect 1095 2055 1135 2065
rect 1095 2035 1105 2055
rect 1125 2035 1135 2055
rect 1095 2025 1135 2035
rect 995 2005 1015 2025
rect 1095 2005 1115 2025
rect 1185 2005 1205 2085
rect 1255 2055 1295 2065
rect 1255 2035 1265 2055
rect 1285 2035 1295 2055
rect 1255 2025 1295 2035
rect 1275 2005 1295 2025
rect 1385 2005 1405 2085
rect 1475 2055 1515 2065
rect 1475 2035 1485 2055
rect 1505 2035 1515 2055
rect 1475 2025 1515 2035
rect 1485 2005 1505 2025
rect 1585 2005 1605 2085
rect 1675 2055 1715 2065
rect 1675 2035 1685 2055
rect 1705 2035 1715 2055
rect 1675 2025 1715 2035
rect 1685 2005 1705 2025
rect 1785 2005 1805 2085
rect 1875 2055 1915 2065
rect 1875 2035 1885 2055
rect 1905 2035 1915 2055
rect 1875 2025 1915 2035
rect 1885 2005 1905 2025
rect 1985 2005 2005 2085
rect 2075 2055 2115 2065
rect 2075 2035 2085 2055
rect 2105 2035 2115 2055
rect 2075 2025 2115 2035
rect 2085 2005 2105 2025
rect 2185 2005 2205 2085
rect 2295 2055 2335 2065
rect 2295 2035 2305 2055
rect 2325 2035 2335 2055
rect 2295 2025 2335 2035
rect 2295 2005 2315 2025
rect 2385 2005 2405 2085
rect 2445 2085 2725 2105
rect 2445 2065 2465 2085
rect 2430 2055 2470 2065
rect 2430 2035 2440 2055
rect 2460 2045 2470 2055
rect 2555 2055 2595 2065
rect 2460 2035 2505 2045
rect 2430 2025 2505 2035
rect 2555 2035 2565 2055
rect 2585 2035 2595 2055
rect 2555 2025 2595 2035
rect 2485 2005 2505 2025
rect 2575 2005 2595 2025
rect 925 2000 1015 2005
rect 925 1425 935 2000
rect 955 1425 985 2000
rect 1005 1425 1015 2000
rect 925 1415 1015 1425
rect 1075 2000 1115 2005
rect 1075 1425 1085 2000
rect 1105 1425 1115 2000
rect 1075 1415 1115 1425
rect 1175 2000 1215 2005
rect 1175 1425 1185 2000
rect 1205 1425 1215 2000
rect 1175 1415 1215 1425
rect 1275 2000 1315 2005
rect 1275 1425 1285 2000
rect 1305 1425 1315 2000
rect 1275 1415 1315 1425
rect 1375 2000 1415 2005
rect 1375 1425 1385 2000
rect 1405 1425 1415 2000
rect 1375 1415 1415 1425
rect 1475 2000 1515 2005
rect 1475 1425 1485 2000
rect 1505 1425 1515 2000
rect 1475 1415 1515 1425
rect 1575 2000 1615 2005
rect 1575 1425 1585 2000
rect 1605 1425 1615 2000
rect 1575 1415 1615 1425
rect 1675 2000 1715 2005
rect 1675 1425 1685 2000
rect 1705 1425 1715 2000
rect 1675 1415 1715 1425
rect 1775 2000 1815 2005
rect 1775 1425 1785 2000
rect 1805 1425 1815 2000
rect 1775 1415 1815 1425
rect 1875 2000 1915 2005
rect 1875 1425 1885 2000
rect 1905 1425 1915 2000
rect 1875 1415 1915 1425
rect 1975 2000 2015 2005
rect 1975 1425 1985 2000
rect 2005 1425 2015 2000
rect 1975 1415 2015 1425
rect 2075 2000 2115 2005
rect 2075 1425 2085 2000
rect 2105 1425 2115 2000
rect 2075 1415 2115 1425
rect 2175 2000 2215 2005
rect 2175 1425 2185 2000
rect 2205 1425 2215 2000
rect 2175 1415 2215 1425
rect 2275 2000 2315 2005
rect 2275 1425 2285 2000
rect 2305 1425 2315 2000
rect 2275 1415 2315 1425
rect 2375 2000 2415 2005
rect 2375 1425 2385 2000
rect 2405 1425 2415 2000
rect 2375 1415 2415 1425
rect 2475 2000 2515 2005
rect 2475 1425 2485 2000
rect 2505 1425 2515 2000
rect 2475 1415 2515 1425
rect 2575 2000 2665 2005
rect 2575 1425 2585 2000
rect 2605 1425 2635 2000
rect 2655 1425 2665 2000
rect 2575 1415 2665 1425
rect 1085 1390 1105 1415
rect 2490 1390 2510 1415
rect 1085 1370 2510 1390
rect 735 1305 800 1325
rect 735 565 755 1305
rect 845 1290 885 1300
rect 845 1270 855 1290
rect 875 1270 885 1290
rect 845 1260 885 1270
rect 945 1290 985 1300
rect 945 1270 955 1290
rect 975 1270 985 1290
rect 945 1260 985 1270
rect 845 1240 865 1260
rect 945 1240 965 1260
rect 1145 1240 1165 1370
rect 1700 1340 1740 1350
rect 1700 1320 1710 1340
rect 1730 1320 1740 1340
rect 1700 1310 1740 1320
rect 1710 1240 1730 1310
rect 2295 1240 2315 1370
rect 2475 1320 2805 1340
rect 2475 1300 2495 1320
rect 2455 1290 2495 1300
rect 2455 1270 2465 1290
rect 2485 1270 2495 1290
rect 2455 1260 2495 1270
rect 2555 1290 2595 1300
rect 2555 1270 2565 1290
rect 2585 1270 2595 1290
rect 2555 1260 2595 1270
rect 2475 1240 2495 1260
rect 2575 1240 2595 1260
rect 775 1235 865 1240
rect 775 660 785 1235
rect 805 660 835 1235
rect 855 660 865 1235
rect 775 650 865 660
rect 925 1235 965 1240
rect 925 660 935 1235
rect 955 660 965 1235
rect 925 650 965 660
rect 1025 1235 1065 1240
rect 1025 660 1035 1235
rect 1055 660 1065 1235
rect 1025 650 1065 660
rect 1125 1235 1165 1240
rect 1125 660 1135 1235
rect 1155 660 1165 1235
rect 1125 650 1165 660
rect 1225 1235 1265 1240
rect 1225 660 1235 1235
rect 1255 660 1265 1235
rect 1225 650 1265 660
rect 1700 1235 1740 1240
rect 1700 660 1710 1235
rect 1730 660 1740 1235
rect 1700 650 1740 660
rect 2175 1235 2215 1240
rect 2175 660 2185 1235
rect 2205 660 2215 1235
rect 2175 650 2215 660
rect 2275 1235 2315 1240
rect 2275 660 2285 1235
rect 2305 660 2315 1235
rect 2275 650 2315 660
rect 2375 1235 2415 1240
rect 2375 660 2385 1235
rect 2405 660 2415 1235
rect 2375 650 2415 660
rect 2475 1235 2515 1240
rect 2475 660 2485 1235
rect 2505 660 2515 1235
rect 2475 650 2515 660
rect 2575 1235 2665 1240
rect 2575 660 2585 1235
rect 2605 660 2635 1235
rect 2655 660 2665 1235
rect 2575 650 2665 660
rect 1025 645 1045 650
rect 1225 630 1245 650
rect 1170 620 1245 630
rect 1170 600 1180 620
rect 1200 610 1245 620
rect 2195 630 2215 650
rect 2195 620 2235 630
rect 1200 600 1210 610
rect 1170 590 1210 600
rect 2195 600 2205 620
rect 2225 600 2235 620
rect 2195 590 2235 600
rect 735 545 2100 565
rect 1475 525 1495 545
rect 2080 525 2100 545
rect 2445 550 2875 570
rect 2445 530 2465 550
rect 995 515 1035 525
rect 995 495 1005 515
rect 1025 495 1035 515
rect 995 485 1035 495
rect 1095 515 1135 525
rect 1095 495 1105 515
rect 1125 495 1135 515
rect 1095 485 1135 495
rect 1255 515 1295 525
rect 1255 495 1265 515
rect 1285 495 1295 515
rect 1255 485 1295 495
rect 1475 515 1515 525
rect 1475 495 1485 515
rect 1505 495 1515 515
rect 1475 485 1515 495
rect 1675 515 1715 525
rect 1675 495 1685 515
rect 1705 495 1715 515
rect 1675 485 1715 495
rect 1875 515 1915 525
rect 1875 495 1885 515
rect 1905 495 1915 515
rect 1875 485 1915 495
rect 2075 515 2115 525
rect 2075 495 2085 515
rect 2105 495 2115 515
rect 2075 485 2115 495
rect 2295 515 2335 525
rect 2295 495 2305 515
rect 2325 495 2335 515
rect 2295 485 2335 495
rect 2425 515 2465 530
rect 2555 515 2595 525
rect 2425 495 2435 515
rect 2455 495 2505 515
rect 2425 485 2465 495
rect 995 465 1015 485
rect 1095 465 1115 485
rect 1275 465 1295 485
rect 1485 465 1505 485
rect 1685 465 1705 485
rect 1885 465 1905 485
rect 2085 465 2105 485
rect 2295 465 2315 485
rect 2485 465 2505 495
rect 2555 495 2565 515
rect 2585 495 2595 515
rect 2555 485 2595 495
rect 2575 465 2595 485
rect 925 460 1015 465
rect 925 -115 935 460
rect 955 -115 985 460
rect 1005 -115 1015 460
rect 925 -125 1015 -115
rect 1075 460 1115 465
rect 1075 -115 1085 460
rect 1105 -115 1115 460
rect 1075 -125 1115 -115
rect 1175 460 1215 465
rect 1175 -115 1185 460
rect 1205 -115 1215 460
rect 1175 -125 1215 -115
rect 1275 460 1315 465
rect 1275 -115 1285 460
rect 1305 -115 1315 460
rect 1275 -125 1315 -115
rect 1375 460 1415 465
rect 1375 -115 1385 460
rect 1405 -115 1415 460
rect 1375 -125 1415 -115
rect 1475 460 1515 465
rect 1475 -115 1485 460
rect 1505 -115 1515 460
rect 1475 -125 1515 -115
rect 1575 460 1615 465
rect 1575 -115 1585 460
rect 1605 -115 1615 460
rect 1575 -125 1615 -115
rect 1675 460 1715 465
rect 1675 -115 1685 460
rect 1705 -115 1715 460
rect 1675 -125 1715 -115
rect 1775 460 1820 465
rect 1775 -115 1785 460
rect 1805 -115 1820 460
rect 1775 -125 1820 -115
rect 1875 460 1915 465
rect 1875 -115 1885 460
rect 1905 -115 1915 460
rect 1875 -125 1915 -115
rect 1975 460 2015 465
rect 1975 -115 1985 460
rect 2005 -115 2015 460
rect 1975 -125 2015 -115
rect 2075 460 2115 465
rect 2075 -115 2085 460
rect 2105 -115 2115 460
rect 2075 -125 2115 -115
rect 2175 460 2215 465
rect 2175 -115 2185 460
rect 2205 -115 2215 460
rect 2175 -125 2215 -115
rect 2275 460 2315 465
rect 2275 -115 2285 460
rect 2305 -115 2315 460
rect 2275 -125 2315 -115
rect 2375 460 2415 465
rect 2375 -115 2385 460
rect 2405 -115 2415 460
rect 2375 -125 2415 -115
rect 2475 460 2515 465
rect 2475 -115 2485 460
rect 2505 -115 2515 460
rect 2475 -125 2515 -115
rect 2575 460 2665 465
rect 2575 -115 2585 460
rect 2605 -115 2635 460
rect 2655 -115 2665 460
rect 2575 -125 2665 -115
rect 1080 -160 1105 -125
rect 695 -180 1105 -160
rect 1190 -145 1210 -125
rect 1385 -145 1405 -125
rect 1585 -145 1605 -125
rect 1785 -145 1805 -125
rect 1985 -145 2005 -125
rect 2185 -145 2205 -125
rect 2375 -145 2395 -125
rect 1190 -165 2395 -145
rect 1085 -185 1105 -180
rect 2485 -185 2505 -125
rect 1085 -205 2505 -185
<< viali >>
rect 385 2255 405 2830
rect 435 2255 455 2830
rect 635 2255 655 2830
rect 835 2255 855 2830
rect 1035 2255 1055 2830
rect 1985 2255 2005 2830
rect 2185 2255 2205 2830
rect 2385 2255 2405 2830
rect 2585 2255 2605 2830
rect 2635 2255 2655 2830
rect 935 1425 955 2000
rect 985 1425 1005 2000
rect 1285 1425 1305 2000
rect 2285 1425 2305 2000
rect 2585 1425 2605 2000
rect 2635 1425 2655 2000
rect 785 660 805 1235
rect 835 660 855 1235
rect 1035 660 1055 1235
rect 1235 660 1255 1235
rect 2185 660 2205 1235
rect 2385 660 2405 1235
rect 2585 660 2605 1235
rect 2635 660 2655 1235
rect 935 -115 955 460
rect 985 -115 1005 460
rect 1285 -115 1305 460
rect 2285 -115 2305 460
rect 2585 -115 2605 460
rect 2635 -115 2655 460
<< metal1 >>
rect 370 2835 2670 2840
rect 350 2830 2670 2835
rect 350 2255 385 2830
rect 405 2255 435 2830
rect 455 2255 635 2830
rect 655 2255 835 2830
rect 855 2255 1035 2830
rect 1055 2255 1985 2830
rect 2005 2255 2185 2830
rect 2205 2255 2385 2830
rect 2405 2255 2585 2830
rect 2605 2255 2635 2830
rect 2655 2255 2670 2830
rect 350 2245 2670 2255
rect 370 2240 2670 2245
rect 915 2000 2670 2010
rect 915 1425 935 2000
rect 955 1425 985 2000
rect 1005 1425 1285 2000
rect 1305 1425 2285 2000
rect 2305 1425 2585 2000
rect 2605 1425 2635 2000
rect 2655 1995 2670 2000
rect 2655 1695 2895 1995
rect 2655 1425 2670 1695
rect 915 1410 2670 1425
rect 725 1245 2670 1250
rect 375 1235 2670 1245
rect 375 660 785 1235
rect 805 660 835 1235
rect 855 660 1035 1235
rect 1055 660 1235 1235
rect 1255 660 2185 1235
rect 2205 660 2385 1235
rect 2405 660 2585 1235
rect 2605 660 2635 1235
rect 2655 905 2670 1235
rect 2655 660 2895 905
rect 375 605 2895 660
rect 375 590 2670 605
rect 755 580 2670 590
rect 765 460 2670 580
rect 765 -100 935 460
rect 780 -115 935 -100
rect 955 -115 985 460
rect 1005 -115 1285 460
rect 1305 -115 2285 460
rect 2305 -115 2585 460
rect 2605 -115 2635 460
rect 2655 -115 2670 460
rect 780 -135 2670 -115
<< labels >>
rlabel locali 2725 2165 2725 2165 3 Vbp
port 1 e
rlabel locali 2725 2095 2725 2095 3 Vcp
port 2 e
rlabel metal1 2895 1860 2895 1860 3 VDD
port 3 e
rlabel locali 2805 1330 2805 1330 3 Vbn
port 4 e
rlabel metal1 2895 765 2895 765 3 GND
port 5 e
rlabel locali 2875 560 2875 560 3 Vcn
port 6 e
<< end >>
